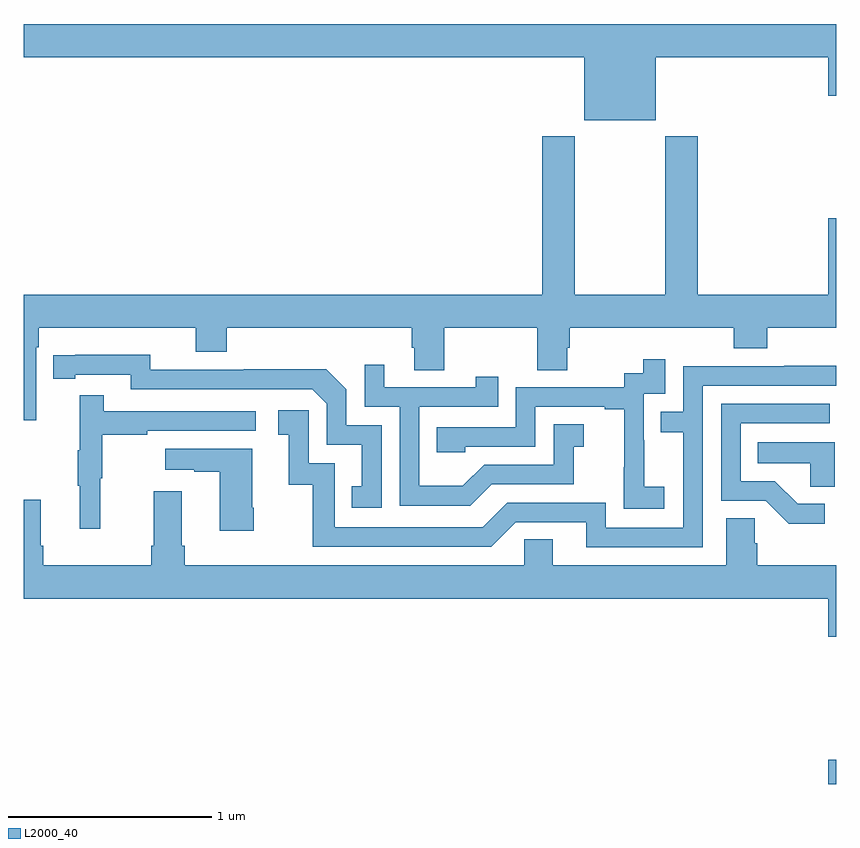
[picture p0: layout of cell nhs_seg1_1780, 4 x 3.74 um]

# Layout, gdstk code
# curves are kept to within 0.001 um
import gdstk
lib = gdstk.Library(unit=1e-6, precision=1e-09)
def R(c, l, rs):  # rectangles x0, y0, x1, y1
    for r in rs: c.add(gdstk.rectangle(r[:2], r[2:], *l))
def P(c, l, *ps):  # polygons
    for p in ps: c.add(gdstk.Polygon(p, *l))
L2000_40 = (2000, 40)

nhs_seg1_1780 = lib.new_cell('nhs_seg1_1780')
R(nhs_seg1_1780, L2000_40, [(212.96,504.199,213,504.319)])
P(nhs_seg1_1780, L2000_40, [(212.11,507.776),(212.96,507.776),(212.96,507.588),(213,507.588),(213,507.94),(209,507.94),(209,507.776),(211.76,507.776),(211.76,507.467),(212.11,507.467)],
  [(213,506.983),(212.96,506.983),(212.96,506.608),(212.318,506.608),(212.318,507.388),(212.158,507.388),(212.158,506.608),(211.713,506.608),(211.713,507.388),(211.553,507.388),(211.553,506.608),(209,506.608),(209,505.989),(209.061,505.989),(209.061,506.348),(209.075,506.348),(209.075,506.444),(209.846,506.444),(209.846,506.327),(209.999,506.327),(209.999,506.444),(210.911,506.444),(210.911,506.346),(210.923,506.346),(210.923,506.236),(211.071,506.236),(211.071,506.444),(211.528,506.444),(211.528,506.236),(211.675,506.236),(211.675,506.346),(211.688,506.346),(211.688,506.444),(212.495,506.444),(212.495,506.345),(212.66,506.345),(212.66,506.444),(213,506.444)],
  [(210.762,505.965),(210.588,505.965),(210.588,506.142),(210.49,506.24),(210.082,506.24),(210.082,506.238),(209.622,506.238),(209.622,506.311),(209.146,506.31),(209.146,506.194),(209.254,506.194),(209.254,506.214),(209.526,506.214),(209.526,506.142),(210.42,506.142),(210.492,506.07),(210.492,505.869),(210.665,505.869),(210.665,505.665),(210.616,505.665),(210.616,505.56),(210.762,505.56)],
  [(212.152,505.663),(212.054,505.663),(212.054,505.892),(212.052,505.892),(212.052,506.121),(212.157,506.121),(212.157,506.29),(212.049,506.29),(212.049,506.22),(211.956,506.22),(211.956,506.151),(211.422,506.151),(211.422,505.956),(211.033,505.956),(211.033,505.833),(211.173,505.833),(211.173,505.86),(211.518,505.86),(211.518,506.055),(211.859,506.055),(211.859,506.043),(211.955,506.043),(211.955,505.759),(211.954,505.759),(211.954,505.553),(212.152,505.553)],
  [(211.303,505.674),(211.707,505.674),(211.707,505.859),(211.756,505.859),(211.756,505.969),(211.608,505.969),(211.608,505.77),(211.266,505.77),(211.162,505.666),(210.948,505.666),(210.948,506.055),(211.337,506.055),(211.337,506.203),(211.226,506.203),(211.226,506.151),(210.775,506.151),(210.775,506.263),(210.678,506.263),(210.678,506.055),(210.852,506.055),(210.852,505.569),(211.198,505.569)],
  [(212.343,506.16),(213,506.16),(213,506.258),(212.743,506.258),(212.743,506.256),(212.247,506.256),(212.247,506.031),(212.137,506.031),(212.137,505.93),(212.247,505.93),(212.247,505.461),(211.866,505.461),(211.866,505.584),(211.38,505.584),(211.26,505.464),(210.531,505.464),(210.531,505.779),(210.402,505.779),(210.402,506.038),(210.252,506.038),(210.252,505.917),(210.305,505.917),(210.305,505.671),(210.423,505.671),(210.423,505.368),(211.302,505.368),(211.422,505.488),(211.769,505.488),(211.769,505.365),(212.343,505.365)],
  [(209.378,505.704),(209.386,505.704),(209.386,505.918),(209.609,505.918),(209.609,505.938),(210.142,505.938),(210.142,506.034),(209.393,506.034),(209.393,506.113),(209.276,506.113),(209.276,505.841),(209.265,505.841),(209.265,505.667),(209.276,505.667),(209.276,505.455),(209.378,505.455)],
  [(212.944,505.578),(212.809,505.578),(212.698,505.689),(212.529,505.689),(212.529,505.974),(212.968,505.974),(212.968,506.07),(212.433,506.07),(212.433,505.593),(212.652,505.593),(212.765,505.481),(212.944,505.481)],
  [(212.992,505.882),(212.614,505.882),(212.614,505.778),(212.871,505.778),(212.871,505.663),(212.992,505.663)],
  [(210.132,505.558),(210.124,505.558),(210.124,505.849),(209.697,505.849),(209.697,505.745),(209.84,505.745),(209.84,505.735),(209.966,505.735),(209.966,505.446),(210.132,505.446)],
  [(213,505.276),(212.612,505.276),(212.612,505.385),(212.598,505.385),(212.598,505.508),(212.459,505.508),(212.459,505.276),(211.603,505.276),(211.603,505.403),(211.464,505.403),(211.464,505.276),(209.792,505.276),(209.792,505.372),(209.779,505.372),(209.779,505.639),(209.639,505.639),(209.639,505.372),(209.627,505.372),(209.627,505.276),(209.096,505.276),(209.096,505.372),(209.083,505.372),(209.083,505.597),(209,505.597),(209,505.112),(212.96,505.112),(212.96,504.924),(213,504.924)])

lib.write_gds('nhs_seg1_1780.gds')
